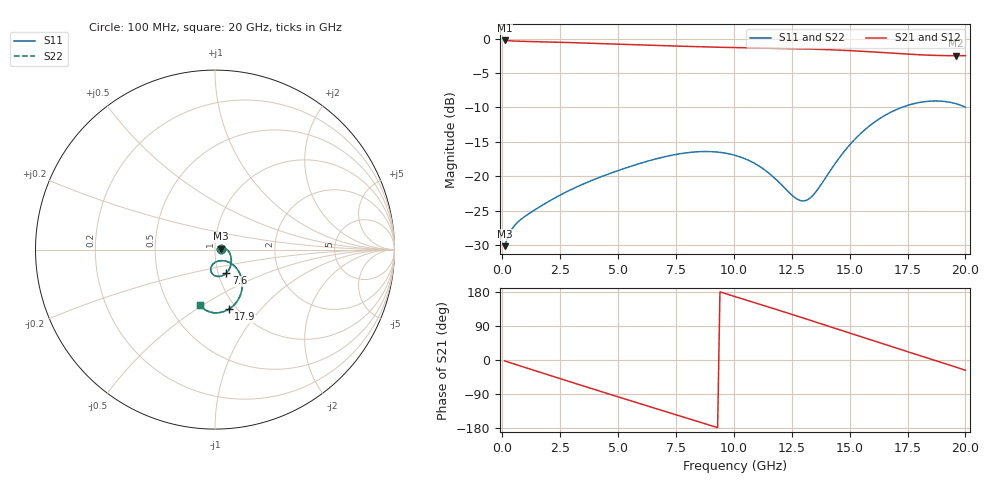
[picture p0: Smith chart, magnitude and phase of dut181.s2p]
! Touchstone file exported from HFSS 2026.1.0
!  File:  C:/ffzhzh/LocalFiles/Ansys_Project_Files/temp_train_TSV_RDL_181_1783056973_18316.aedt
!  Generated:  01:52:39 PM Jul  3, 2026
!  Design:  TSV_RDL
!  Project:  temp_train_TSV_RDL_181_1783056973_18316
! Variables:
!  h_bsmrdl = 5.98um
!  h_ox = 20um
!  h_rdl = 5um
!  h_sub = 69.08um
!  h_tmrdl = 4.51um
!  h_tsv = 69.08um
!  h_via = 3um
!  l_bsmrdl = 828.63um
!  l_sub = 6170.28um
!  l_tmrdl = 797.93um
!  m_sub = 200um
!  pitch = 22.36um
!  r_tsv = 3.91um
!  s_tmrdl = 10um
!  w_bsmrdl = 10.46um
!  w_sub = 500um
!  w_tmrdl = 20.43um
!  x_tsv_center1 = 808.145um
!  x_tsv_center2 = 1647.235um
!  x_tsv_center3 = 2465.595um
!  x_tsv_center4 = 3304.685um
!  x_tsv_center5 = 4123.045um
!  x_tsv_center6 = 4962.135um
# GHz S MA R 50.000000
! Terminal data exported
! Port[1] = TM_RDL1_1_T1
! Port[2] = TM_RDL5_1_T1
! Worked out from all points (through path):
!   200 points, 100 MHz to 20 GHz, reference 50 ohm
!   highest |S21| = -0.27 dB at 100 MHz (marker M1); lowest = -2.5 dB at 19.6 GHz (marker M2)
!   group delay of S21, straight-line fit = 53.4 ps
!   lowest |S11| = -30.1 dB at 100 MHz (marker M3), VSWR 1.06, Z = 53.2 + j0.539 ohm
!   |S11| at or under -10 dB: start of sweep to 17.24 GHz
!   |S22| runs from -30.1 to -9.1 dB; largest |S21 - S12| = 1.6e-14
!   S11 on the Smith chart (normalised r, x): 100 MHz: 1.06, +0.01; 7.6 GHz: 1.09, -0.29; 17.9 GHz: 0.92, -0.69; 20 GHz: 0.71, -0.48
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0.1  0.03115 9.4  0.9695 -2.2  0.9695 -2.2  0.03115 9.4
! Gamma 0 0 0 0
! Port Impedance 50 0 50 0
0.6  0.04536 13.4  0.9585 -12.3  0.9585 -12.3  0.04536 13.4
1.7  0.06135 4.0  0.9482 -33.7  0.9482 -33.7  0.06135 4.0
2.6  0.07465 -5.8  0.9393 -51.2  0.9393 -51.2  0.07465 -5.8
3.5  0.08807 -16.6  0.9292 -68.6  0.9292 -68.6  0.08807 -16.6
4.3  0.09988 -26.2  0.9196 -83.9  0.9196 -83.9  0.09989 -26.2
5.1  0.1117 -35.5  0.91 -99.2  0.91 -99.2  0.1117 -35.5
5.9  0.1235 -44.6  0.9006 -114.3  0.9006 -114.3  0.1235 -44.6
6.8  0.1361 -54.9  0.8904 -131.4  0.8904 -131.4  0.1361 -54.8
7.6  0.1453 -64.2  0.8819 -146.4  0.8819 -146.4  0.1453 -64.2
8.9  0.1514 -79.7  0.8695 -170.9  0.8695 -170.9  0.1515 -79.6
10.1  0.1414 -93.1  0.86 166.4  0.86 166.4  0.1415 -93.1
11  0.1214 -100.8  0.8543 149.3  0.8543 149.3  0.1215 -100.7
11.9  0.0923 -101.5  0.849 132.1  0.849 132.1  0.09248 -101.4
12.8  0.06746 -82.4  0.8433 114.6  0.8433 114.6  0.06774 -82.3
13.4  0.07239 -57.9  0.8384 102.9  0.8384 102.9  0.07267 -58.0
14.2  0.1123 -41.2  0.8299 87.1  0.8299 87.1  0.1125 -41.3
15  0.1691 -41.6  0.8184 71.2  0.8184 71.2  0.1692 -41.7
16.7  0.2877 -60.2  0.7863 37.7  0.7863 37.7  0.2878 -60.3
17.9  0.3409 -77.1  0.7648 14.4  0.7648 14.4  0.341 -77.1
19.6  0.3367 -100.4  0.7516 -19.0  0.7516 -19.0  0.3367 -100.4
20  0.3179 -105.2  0.7523 -27.1  0.7523 -27.1  0.318 -105.2
